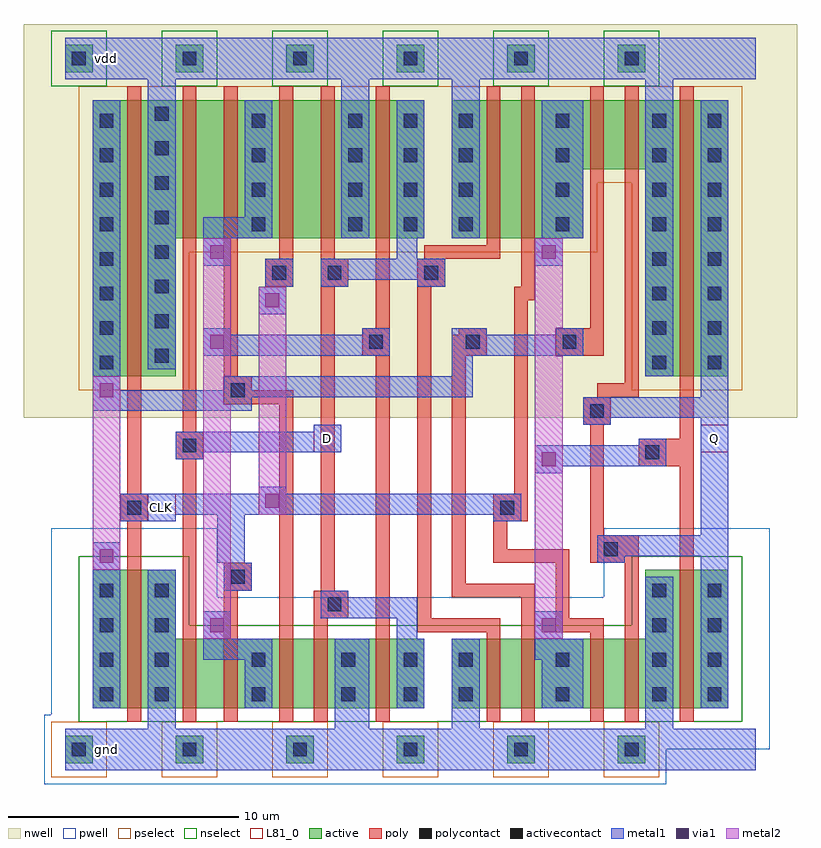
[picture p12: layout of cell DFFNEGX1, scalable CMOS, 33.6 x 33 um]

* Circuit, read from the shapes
.subckt DFFNEGX1 CLK D Q gnd vdd
M1 gnd CLK n1 gnd nfet w=6u l=0.6u
M2 n2 D gnd gnd nfet w=3u l=0.6u
M3 n3 CLK n2 gnd nfet w=3u l=0.6u
M4 n4 n1 n3 gnd nfet w=3u l=0.6u
M5 gnd n5 n4 gnd nfet w=3u l=0.6u
M6 n5 n3 gnd gnd nfet w=3u l=0.6u
M7 n6 n5 gnd gnd nfet w=3u l=0.6u
M8 n7 n1 n6 gnd nfet w=3u l=0.6u
M9 n8 CLK n7 gnd nfet w=3u l=0.6u
M10 gnd Q n8 gnd nfet w=3u l=0.6u
M11 Q n7 gnd gnd nfet w=6u l=0.6u
M12 vdd CLK n1 vdd pfet w=12u l=0.6u
M13 n9 D vdd vdd pfet w=6u l=0.6u
M14 n3 n1 n9 vdd pfet w=6u l=0.6u
M15 n10 CLK n3 vdd pfet w=6u l=0.6u
M16 vdd n5 n10 vdd pfet w=6u l=0.6u
M17 n5 n3 vdd vdd pfet w=6u l=0.6u
M18 n11 n5 vdd vdd pfet w=6u l=0.6u
M19 n7 CLK n11 vdd pfet w=6u l=0.6u
M20 n12 n1 n7 vdd pfet w=3u l=0.6u
M21 vdd Q n12 vdd pfet w=3u l=0.6u
M22 Q n7 vdd vdd pfet w=12u l=0.6u
.ends

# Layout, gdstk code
import gdstk
lib = gdstk.Library(unit=1e-6, precision=1e-09)
def R(c, l, rs):  # rectangles x0, y0, x1, y1
    for r in rs: c.add(gdstk.rectangle(r[:2], r[2:], *l))
def A(c, l, x, y, w, h, nx, ny, dx, dy):  # array of equal rectangles
    R(c, l, [(x+i*dx, y+j*dy, x+i*dx+w, y+j*dy+h) for i in range(nx) for j in range(ny)])
pwell = (41, 0)
nwell = (42, 0)
active = (43, 0)
pselect = (44, 0)
nselect = (45, 0)
poly = (46, 0)
polycontact = (47, 0)
activecontact = (48, 0)
metal1 = (49, 0)
via1 = (50, 0)
metal2 = (51, 0)
L81_0 = (81, 0)

dffnegx1 = lib.new_cell('DFFNEGX1')
R(dffnegx1, pwell, [(-1.5,-1.5,25.5,0), (-1.5,0,30,1.5), (-1.2,1.5,30,6.6), (-1.2,6.6,6,9.6), (22.8,6.6,30,9.6)])
R(dffnegx1, nwell, [(-2.4,14.4,31.2,31.5)])
A(dffnegx1, active, -0.6, -0.6, 1.2, 1.2, 6, 2, 4.8, 30)
R(dffnegx1, active, [(0.6,1.8,15,4.8), (16.2,1.8,28.2,4.8), (0.6,4.8,4.2,7.8), (24.6,4.8,28.2,7.8), (0.6,16.2,4.2,22.2), (24.6,16.2,28.2,25.2), (0.6,22.2,15,28.2), (16.2,22.2,21.9,25.2), (16.2,25.2,28.2,28.2)])
A(dffnegx1, pselect, -1.2, -1.2, 2.4, 2.4, 6, 1, 4.8, 0)
R(dffnegx1, pselect, [(0,15.6,4.8,21.6), (24,15.6,28.8,24.6), (0,21.6,22.5,24.6), (0,24.6,28.8,28.8)])
A(dffnegx1, nselect, -1.2, 28.8, 2.4, 2.4, 6, 1, 4.8, 0)
R(dffnegx1, nselect, [(0,1.2,28.8,5.4), (0,5.4,4.8,8.4), (24,5.4,28.8,8.4)])
R(dffnegx1, poly, [(2.1,1.2,2.7,9.9), (4.5,1.2,5.1,12.6), (6.3,1.2,6.9,6.9), (8.7,1.2,9.3,15), (10.2,1.2,10.8,5.7), (12.9,1.2,13.5,17.1), (17.7,1.2,18.3,5.1), (19.2,1.2,19.8,6.6), (22.2,1.2,22.8,5.1), (23.7,1.2,24.3,8.1), (26.1,1.2,26.7,12.3), (14.7,5.1,18.3,5.7), (20.7,5.1,22.8,5.7), (10.2,5.7,11.7,6.9), (14.7,5.7,15.3,20.1), (20.7,5.7,21.3,8.1), (16.2,6.6,19.8,7.2), (6.3,6.9,7.5,8.1), (10.5,6.9,11.1,20.1), (16.2,7.2,16.8,17.1), (18,8.1,21.3,8.7), (22.2,8.1,24.3,9.3), (18,8.7,18.6,9.9), (22.2,9.3,22.8,14.1), (1.8,9.9,3,11.1), (18,9.9,19.5,11.1), (2.1,11.1,2.7,28.8), (18.9,11.1,19.5,19.5), (24.3,12.3,26.7,13.5), (4.2,12.6,5.4,13.8), (26.1,13.5,26.7,28.8), (4.5,13.8,5.1,28.8), (21.9,14.1,23.1,15.3), (6.3,15,9.3,15.6), (22.5,15.3,24.3,15.9), (6.3,15.6,7.5,16.2), (23.7,15.9,24.3,28.8), (6.3,16.2,6.9,28.8), (12.3,17.1,13.5,18.3), (16.2,17.1,17.7,18), (20.7,17.1,22.8,18.3), (16.5,18,17.7,18.3), (12.9,18.3,13.5,28.8), (22.2,18.3,22.8,28.8), (18.9,19.5,19.8,20.1), (8.1,20.1,9.3,21.3), (10.5,20.1,11.7,21.3), (14.7,20.1,15.9,21.3), (19.2,20.1,19.8,28.8), (8.7,21.3,9.3,28.8), (10.5,21.3,11.1,28.8), (15,21.3,18.3,21.9), (17.7,21.9,18.3,28.8)])
A(dffnegx1, polycontact, 12.6, 17.4, 0.6, 0.6, 3, 1, 4.2, 0)
R(dffnegx1, polycontact, [(10.8,6,11.4,6.6), (6.6,7.2,7.2,7.8), (22.8,8.4,23.4,9), (2.1,10.2,2.7,10.8), (18.3,10.2,18.9,10.8), (24.6,12.6,25.2,13.2), (4.5,12.9,5.1,13.5), (22.2,14.4,22.8,15), (6.6,15.3,7.2,15.9), (8.4,20.4,9,21), (10.8,20.4,11.4,21), (15,20.4,15.6,21)])
A(dffnegx1, activecontact, -0.3, -0.3, 0.6, 0.6, 6, 2, 4.8, 30)
A(dffnegx1, activecontact, 0.9, 2.1, 0.6, 0.6, 1, 4, 0, 1.5)
A(dffnegx1, activecontact, 3.3, 2.1, 0.6, 0.6, 1, 4, 0, 1.5)
A(dffnegx1, activecontact, 16.5, 2.1, 0.6, 0.6, 3, 2, 4.2, 1.5)
A(dffnegx1, activecontact, 27.3, 2.1, 0.6, 0.6, 1, 4, 0, 1.5)
A(dffnegx1, activecontact, 0.9, 16.5, 0.6, 0.6, 1, 8, 0, 1.5)
A(dffnegx1, activecontact, 24.9, 16.5, 0.6, 0.6, 1, 8, 0, 1.5)
A(dffnegx1, activecontact, 27.3, 16.5, 0.6, 0.6, 1, 8, 0, 1.5)
A(dffnegx1, activecontact, 3.3, 16.8, 0.6, 0.6, 1, 8, 0, 1.5)
A(dffnegx1, activecontact, 7.5, 22.5, 0.6, 0.6, 1, 4, 0, 1.5)
A(dffnegx1, activecontact, 11.7, 22.5, 0.6, 0.6, 3, 4, 2.4, 1.5)
A(dffnegx1, activecontact, 20.7, 22.5, 0.6, 0.6, 1, 4, 0, 1.5)
R(dffnegx1, activecontact, [(7.5,2.1,8.1,2.7), (11.4,2.1,12,2.7), (14.1,2.1,14.7,2.7), (7.5,3.6,8.1,4.2), (11.4,3.6,12,4.2), (14.1,3.6,14.7,4.2), (24.9,5.1,25.5,5.7), (24.9,6.6,25.5,7.2)])
R(dffnegx1, metal1, [(-0.6,-0.9,29.4,0.9), (3,0.9,4.2,7.8), (11.1,0.9,12.6,4.8), (16.2,0.9,17.4,4.8), (24.6,0.9,25.8,7.5), (0.6,1.8,1.8,9), (7.2,1.8,8.4,3.9), (13.8,1.8,15,4.8), (20.1,1.8,21.9,3.9), (27,1.8,28.2,8.4), (5.4,3.9,8.4,4.8), (19.8,3.9,21.9,4.8), (5.4,4.8,6.6,6), (13.8,4.8,14.7,5.7), (19.8,4.8,21,6), (10.5,5.7,14.7,6.6), (10.5,6.6,11.7,6.9), (6.3,6.9,7.5,8.1), (6,8.1,7.2,10.2), (22.5,8.1,23.7,8.4), (22.5,8.4,28.2,9.3), (27,9.3,28.2,14.4), (1.8,9.9,4.2,10.2), (18,9.9,19.2,10.2), (1.8,10.2,19.2,11.1), (7.8,11.1,9,11.4), (19.8,12,21,12.3), (19.8,12.3,25.5,13.2), (4.2,12.6,5.4,12.9), (4.2,12.9,11.4,13.8), (24.3,13.2,25.5,13.5), (10.2,13.8,11.4,14.1), (21.9,14.1,23.1,14.4), (21.9,14.4,28.2,15.3), (0.6,14.7,7.5,15.3), (0.6,15.3,17.1,15.6), (27,15.3,28.2,28.2), (0.6,15.6,1.8,28.2), (6.3,15.6,17.1,16.2), (16.2,16.2,17.1,17.1), (24.6,16.2,25.8,29.1), (3,16.5,4.2,29.1), (5.4,17.1,13.5,18), (16.2,17.1,21.9,18), (5.4,18,6.6,18.3), (12.3,18,13.5,18.3), (16.2,18,17.7,18.3), (20.7,18,21.9,18.3), (7.8,18.9,9,20.1), (8.1,20.1,9.3,21.3), (10.5,20.1,11.7,20.4), (14.7,20.1,15.9,20.4), (10.5,20.4,15.9,21.3), (5.4,21,6.6,22.2), (19.8,21,21,22.2), (13.8,21.3,14.7,22.2), (5.4,22.2,8.4,23.1), (11.4,22.2,12.6,29.1), (13.8,22.2,15,28.2), (16.2,22.2,17.4,29.1), (20.1,22.2,21.9,28.2), (7.2,23.1,8.4,28.2), (-0.6,29.1,29.4,30.9)])
R(dffnegx1, via1, [(5.7,5.1,6.3,5.7), (20.1,5.1,20.7,5.7), (0.9,8.1,1.5,8.7), (8.1,10.5,8.7,11.1), (20.1,12.3,20.7,12.9), (0.9,15.3,1.5,15.9), (5.7,17.4,6.3,18), (8.1,19.2,8.7,19.8), (5.7,21.3,6.3,21.9), (20.1,21.3,20.7,21.9)])
R(dffnegx1, metal2, [(5.4,4.8,6.6,15), (19.8,4.8,21,17.1), (0.6,7.8,1.8,16.2), (7.8,10.2,9,20.1), (5.4,15,6.3,16.2), (5.4,16.2,6.6,22.2), (19.8,17.1,20.7,18.3), (19.8,18.3,21,22.2)])
R(dffnegx1, L81_0, [(3,9.9,4.2,11.1), (10.2,12.9,11.4,14.1), (27,12.9,28.2,14.1)])
dffnegx1.add(gdstk.Label('CLK', (3.6,10.5), layer=49, texttype=0))
dffnegx1.add(gdstk.Label('vdd', (1.2,30), layer=49, texttype=0))
dffnegx1.add(gdstk.Label('D', (10.8,13.5), layer=49, texttype=0))
dffnegx1.add(gdstk.Label('gnd', (1.2,0), layer=49, texttype=0))
dffnegx1.add(gdstk.Label('Q', (27.6,13.5), layer=49, texttype=0))

lib.write_gds('DFFNEGX1.gds')
